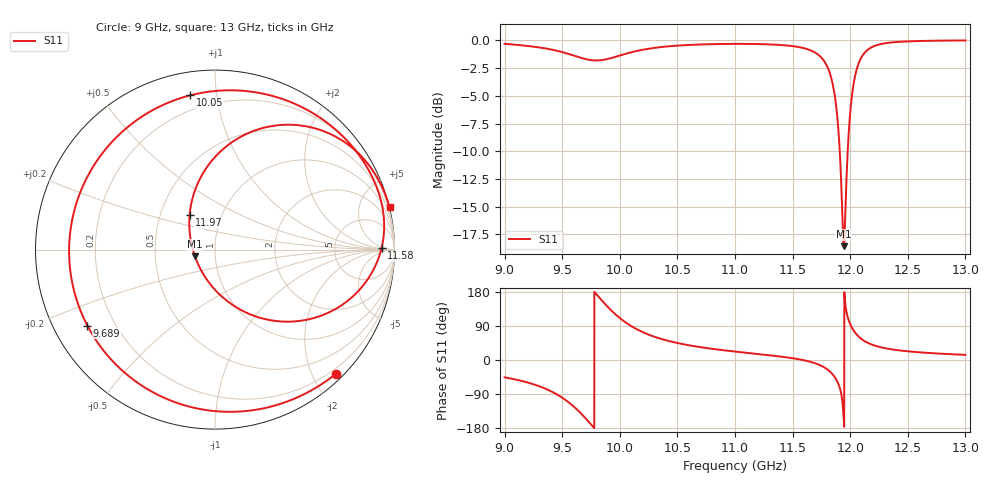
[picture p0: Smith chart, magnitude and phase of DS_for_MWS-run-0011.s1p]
! TOUCHSTONE file generated by CST DESIGN STUDIO
! Date and time: Tue Feb  4 14:10:52 2025
! Project name: C:\Work\MatlabApps\UnitCellOptimizationMatlab\CST\unitcell.cst
! Tree item: Tasks\Sweep1\SPara1\S-Parameters
! Header version: 2024
! Port assignment regex: !\s*Touchstone port\s*([0-9]+)\s*=\s*(CST MWS port|CST DES external port|CST DES block port)\s*(.+)\s* \(\"(.*)\"\)(\s*mode\s*([0-9]+))?.*
! Touchstone port assignment:
! Touchstone port 1 = CST DES external port 1 ("")
# GHz S MA R 50
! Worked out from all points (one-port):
!   4001 points, 9 GHz to 13 GHz, reference 50 ohm
!   lowest |S11| = -18.6 dB at 11.95 GHz (marker M1), VSWR 1.27, Z = 39.8 - j2.97 ohm
!   |S11| at or under -10 dB: 11.91 GHz to 11.98 GHz (68.78 MHz wide, 0.576 % of centre)
!   S11 on the Smith chart (normalised r, x): 9 GHz: 0.11, -2.37; 9.689 GHz: 0.10, -0.27; 10.05 GHz: 0.12, +0.84; 11.58 GHz: 26, +3; 11.97 GHz: 0.70, +0.29; 13 GHz: -0.01, +8.40
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9  0.9661 -45.7
9.278  0.9339 -66.8
9.5  0.8863 -99.4
9.597  0.8559 -122.0
9.689  0.8276 -149.3
9.758  0.8145 -172.8
9.825  0.8136 163.7
9.915  0.8302 134.1
10  0.8553 110.7
10.05  0.8705 99.2
10.254  0.9184 66.5
10.5  0.9479 44.9
11  0.9655 22.3
11.5  0.943 4.7
11.58  0.9278 0.5
11.743  0.844 -14.4
11.84  0.6633 -35.4
11.897  0.3982 -62.9
11.932  0.1623 -109.8
11.945  0.1179 -161.8
11.968  0.2386 126.3
12  0.4718 94.5
12.029  0.6341 78.2
12.062  0.7575 65.3
12.173  0.9238 42.5
12.299  0.9706 31.4
12.5  0.9906 22.9
13  1 13.6
